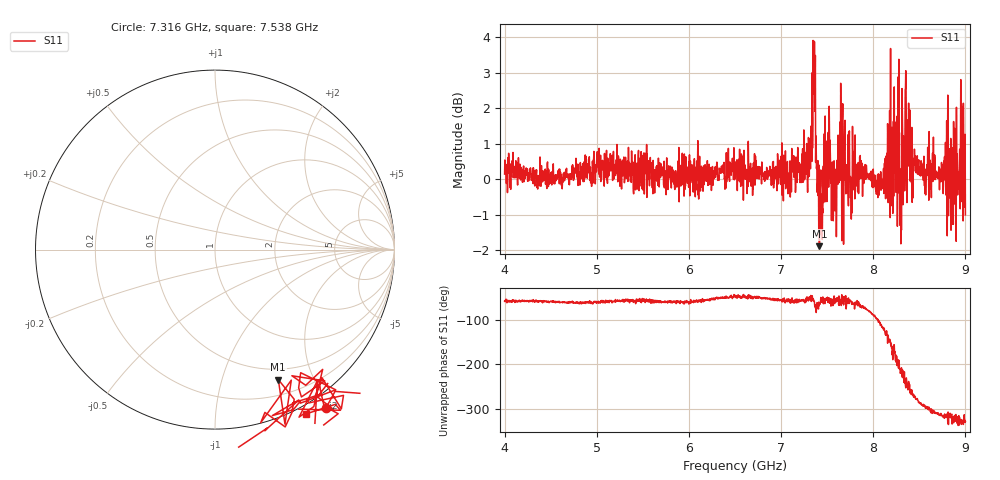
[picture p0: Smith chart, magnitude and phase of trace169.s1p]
! Created with skrf 1.8.0 (http://scikit-rf.org).
# Hz S RI R 50.0
!freq ReS11 ImS11
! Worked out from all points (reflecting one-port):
!   1601 points, 4 GHz to 9 GHz, reference 50 ohm
!   lowest |S11| = -1.9 dB at 7.416 GHz (marker M1), VSWR 9.28, Z = 18.6 - j76.8 ohm
!   phase of S11 starts at -57 deg and turns -272 deg over the sweep
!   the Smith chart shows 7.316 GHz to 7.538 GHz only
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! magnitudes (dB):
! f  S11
! 4 GHz  0.1
! 4.625 GHz  -0.3
! 5.25 GHz  -0.2
! 5.875 GHz  -0.1
! 6.5 GHz  0.2
! 7.125 GHz  0.2
! 7.297 GHz  1.2
! 7.319 GHz  0.3
! 7.347 GHz  3.9
! 7.372 GHz  3.5
! 7.4 GHz  0.5
! 7.416 GHz  -1.9
! 7.428 GHz  -0.2
! 7.512 GHz  1.3
! 7.591 GHz  0.3
! 7.669 GHz  2.1
! 7.75 GHz  -0.1
! 8.084 GHz  -0.1
! 8.253 GHz  0.2
! 8.312 GHz  2.6
! 8.334 GHz  -0.1
! 8.375 GHz  0.4
! 8.425 GHz  0.2
! 8.553 GHz  0.3
! 8.788 GHz  -0.4
! 8.844 GHz  -1.4
! 8.956 GHz  0.2
! 9 GHz  -1.0
